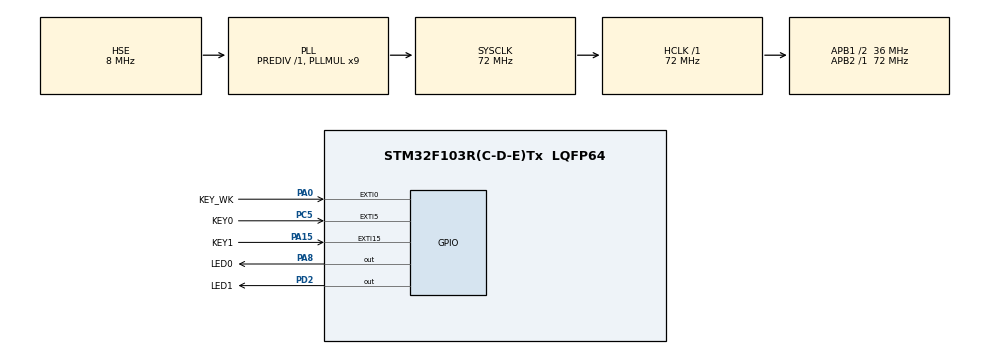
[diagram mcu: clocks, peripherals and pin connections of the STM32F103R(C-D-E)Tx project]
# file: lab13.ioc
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Mcu.Family=STM32F1
Mcu.Name=STM32F103R(C-D-E)Tx
Mcu.Package=LQFP64
NVIC.EXTI0_IRQn=true\:1\:0\:true\:false\:true\:true\:true
NVIC.EXTI15_10_IRQn=true\:1\:2\:true\:false\:true\:true\:true
NVIC.EXTI9_5_IRQn=true\:1\:1\:true\:false\:true\:true\:true
NVIC.PriorityGroup=NVIC_PRIORITYGROUP_2
PA0-WKUP.GPIO_Label=KEY_WK
PA0-WKUP.GPIO_PuPd=GPIO_PULLDOWN
PA0-WKUP.Signal=GPXTI0
PA13.Mode=Serial_Wire
PA13.Signal=SYS_JTMS-SWDIO
PA14.Mode=Serial_Wire
PA14.Signal=SYS_JTCK-SWCLK
PA15.GPIO_Label=KEY1
PA15.GPIO_PuPd=GPIO_PULLUP
PA15.Signal=GPXTI15
PA8.GPIO_Label=LED0
PA8.Signal=GPIO_Output
PC5.GPIO_Label=KEY0
PC5.GPIO_PuPd=GPIO_PULLUP
PC5.Signal=GPXTI5
PD0-OSC_IN.Mode=HSE-External-Oscillator
PD0-OSC_IN.Signal=RCC_OSC_IN
PD1-OSC_OUT.Mode=HSE-External-Oscillator
PD1-OSC_OUT.Signal=RCC_OSC_OUT
PD2.GPIO_Label=LED1
PD2.Signal=GPIO_Output
ProjectManager.HeapSize=0x200
ProjectManager.StackSize=0x400
ProjectManager.TargetToolchain=STM32CubeIDE
RCC.AHBFreq_Value=72000000
RCC.APB1CLKDivider=RCC_HCLK_DIV2
RCC.APB1Freq_Value=36000000
RCC.APB1TimFreq_Value=72000000
RCC.APB2Freq_Value=72000000
RCC.APB2TimFreq_Value=72000000
RCC.HCLKFreq_Value=72000000
RCC.PLLMUL=RCC_PLL_MUL9
RCC.PLLSourceVirtual=RCC_PLLSOURCE_HSE
RCC.SYSCLKFreq_VALUE=72000000
RCC.SYSCLKSource=RCC_SYSCLKSOURCE_PLLCLK
RCC.USBFreq_Value=72000000
board=custom

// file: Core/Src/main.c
/* USER CODE BEGIN Header */
/**
  ******************************************************************************
  * @file           : main.c
  * @brief          : Main program body
  ******************************************************************************
  * @attention
  *
  * <h2><center>&copy; Copyright (c) 2019 STMicroelectronics.
  * All rights reserved.</center></h2>
  *
  * This software component is licensed by ST under BSD 3-Clause license,
  * the "License"; You may not use this file except in compliance with the
  * License. You may obtain a copy of the License at:
  *                        opensource.org/licenses/BSD-3-Clause
  *
  ******************************************************************************
  */
/* USER CODE END Header */

#include "main.h"
#include "gpio.h"

/* USER CODE BEGIN Includes */
#include "lcd.h"
#include "snake.h"
#include "string.h"
#include "stdio.h"
#include "stdint.h"
/* USER CODE END Includes */

/* USER CODE BEGIN PTD */
void HAL_GPIO_EXTI_Callback(uint16_t GPIO_Pin)
{
 HAL_Delay(100);
 switch (GPIO_Pin) {
case KEY0_Pin:
 if (HAL_GPIO_ReadPin(KEY0_GPIO_Port, KEY0_Pin) == GPIO_PIN_RESET) {
HAL_GPIO_TogglePin(LED0_GPIO_Port, LED0_Pin);
 }
 break;
case KEY1_Pin:
 if (HAL_GPIO_ReadPin(KEY1_GPIO_Port, KEY1_Pin) == GPIO_PIN_RESET) {
HAL_GPIO_TogglePin(LED1_GPIO_Port, LED1_Pin);
 }
 break;
case KEY_WK_Pin:
 if (HAL_GPIO_ReadPin(KEY_WK_GPIO_Port, KEY_WK_Pin) == GPIO_PIN_SET) {
HAL_GPIO_TogglePin(LED0_GPIO_Port, LED0_Pin);
HAL_GPIO_TogglePin(LED1_GPIO_Port, LED1_Pin);
 }
 break;
default:
 break;
 }
}
/* USER CODE END PTD */

void SystemClock_Config(void);

int main(void)
{

  /* MCU Configuration--------------------------------------------------------*/

  /* Reset of all peripherals, Initializes the Flash interface and the Systick. */
  HAL_Init();

  /* Configure the system clock */
  SystemClock_Config();

  /* USER CODE BEGIN SysInit */
//  LCD_Init();
  /* USER CODE END SysInit */

  /* Initialize all configured peripherals */
  MX_GPIO_Init();
  /* USER CODE BEGIN 2 */

  HAL_GPIO_TogglePin(LED0_GPIO_Port, LED0_Pin);
  HAL_GPIO_TogglePin(LED1_GPIO_Port, LED1_Pin);

  /* USER CODE END 2 */

  /* Infinite loop */S
  /* USER CODE BEGIN WHILE */
//  snake_start();
//  uint8_t factor_x = 10;
//  uint8_t factor_y = 0;
  while(1){
//	  snake_update(factor_x,factor_y);
//	  if (HAL_GPIO_ReadPin(GPIOA, GPIO_PIN_8) == GPIO_PIN_RESET) {
//	  HAL_GPIO_WritePin(GPIOA, GPIO_PIN_8, GPIO_PIN_SET);
//	  HAL_GPIO_WritePin(GPIOD, GPIO_PIN_2, GPIO_PIN_SET);
//	  } else {
//	  HAL_GPIO_WritePin(GPIOA, GPIO_PIN_8, GPIO_PIN_RESET);
//	  HAL_GPIO_WritePin(GPIOD, GPIO_PIN_2, GPIO_PIN_RESET);
//	  }
  }

    /* USER CODE END WHILE */

}

void SystemClock_Config(void)
{
  RCC_OscInitTypeDef RCC_OscInitStruct = {0};
  RCC_ClkInitTypeDef RCC_ClkInitStruct = {0};

  /** Initializes the CPU, AHB and APB busses clocks
  */
  RCC_OscInitStruct.OscillatorType = RCC_OSCILLATORTYPE_HSE;
  RCC_OscInitStruct.HSEState = RCC_HSE_ON;
  RCC_OscInitStruct.HSEPredivValue = RCC_HSE_PREDIV_DIV1;
  RCC_OscInitStruct.HSIState = RCC_HSI_ON;
  RCC_OscInitStruct.PLL.PLLState = RCC_PLL_ON;
  RCC_OscInitStruct.PLL.PLLSource = RCC_PLLSOURCE_HSE;
  RCC_OscInitStruct.PLL.PLLMUL = RCC_PLL_MUL9;
  if (HAL_RCC_OscConfig(&RCC_OscInitStruct) != HAL_OK)
  {
    Error_Handler();
  }
  /** Initializes the CPU, AHB and APB busses clocks
  */
  RCC_ClkInitStruct.ClockType = RCC_CLOCKTYPE_HCLK|RCC_CLOCKTYPE_SYSCLK
                              |RCC_CLOCKTYPE_PCLK1|RCC_CLOCKTYPE_PCLK2;
  RCC_ClkInitStruct.SYSCLKSource = RCC_SYSCLKSOURCE_PLLCLK;
  RCC_ClkInitStruct.AHBCLKDivider = RCC_SYSCLK_DIV1;
  RCC_ClkInitStruct.APB1CLKDivider = RCC_HCLK_DIV2;
  RCC_ClkInitStruct.APB2CLKDivider = RCC_HCLK_DIV1;

  if (HAL_RCC_ClockConfig(&RCC_ClkInitStruct, FLASH_LATENCY_2) != HAL_OK)
  {
    Error_Handler();
  }
}

void Error_Handler(void)
{
}

/************************ (C) COPYRIGHT STMicroelectronics *****END OF FILE****/
